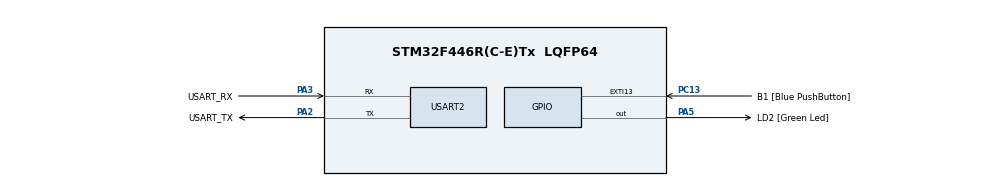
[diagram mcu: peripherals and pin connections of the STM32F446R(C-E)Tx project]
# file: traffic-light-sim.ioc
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Mcu.Family=STM32F4
Mcu.Name=STM32F446R(C-E)Tx
Mcu.Package=LQFP64
NVIC.PriorityGroup=NVIC_PRIORITYGROUP_4
PA13.GPIO_Label=TMS
PA13.Mode=Serial_Wire
PA13.Signal=SYS_JTMS-SWDIO
PA14.GPIO_Label=TCK
PA14.Mode=Serial_Wire
PA14.Signal=SYS_JTCK-SWCLK
PA2.GPIO_Label=USART_TX
PA2.Mode=Asynchronous
PA2.Signal=USART2_TX
PA3.GPIO_Label=USART_RX
PA3.Mode=Asynchronous
PA3.Signal=USART2_RX
PA5.GPIO_Label=LD2 [Green Led]
PA5.Signal=GPIO_Output
PB3.GPIO_Label=SWO
PB3.Signal=SYS_JTDO-SWO
PC13.GPIO_Label=B1 [Blue PushButton]
PC13.GPIO_ModeDefaultEXTI=GPIO_MODE_IT_FALLING
PC13.Signal=GPXTI13
PC14-OSC32_IN.Signal=RCC_OSC32_IN
PC15-OSC32_OUT.Signal=RCC_OSC32_OUT
PH0-OSC_IN.Signal=RCC_OSC_IN
PH1-OSC_OUT.Signal=RCC_OSC_OUT
ProjectManager.HeapSize=0x200
ProjectManager.StackSize=0x400
ProjectManager.TargetToolchain=STM32CubeIDE
RCC.AHBFreq_Value=84000000
RCC.APB1CLKDivider=RCC_HCLK_DIV2
RCC.APB1Freq_Value=42000000
RCC.APB1TimFreq_Value=84000000
RCC.APB2Freq_Value=84000000
RCC.APB2TimFreq_Value=84000000
RCC.CortexFreq_Value=84000000
RCC.FLatency-AdvancedSettings=FLASH_LATENCY_2
RCC.HCLKFreq_Value=84000000
RCC.HSE_VALUE=8000000
RCC.HSI_VALUE=16000000
RCC.LSE_VALUE=32768
RCC.PLLN=336
RCC.PLLP=RCC_PLLP_DIV4
RCC.SYSCLKFreq_VALUE=84000000
RCC.SYSCLKSource=RCC_SYSCLKSOURCE_PLLCLK
RCC.USBFreq_Value=168000000
RCC.VCOOutputFreq_Value=336000000
USART2.VirtualMode=VM_ASYNC
board=NUCLEO-F446RE

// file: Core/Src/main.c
/* USER CODE BEGIN Header */
/**
 ******************************************************************************
 * @file           : main.c
 * @brief          : Main program body
 ******************************************************************************
 * @attention
 *
 * Copyright (c) 2025 STMicroelectronics.
 * All rights reserved.
 *
 * This software is licensed under terms that can be found in the LICENSE file
 * in the root directory of this software component.
 * If no LICENSE file comes with this software, it is provided AS-IS.
 *
 ******************************************************************************
 */
/* USER CODE END Header */
/* Includes
 * ------------------------------------------------------------------*/
#include "main.h"

/* Private includes
 * ----------------------------------------------------------*/
/* USER CODE BEGIN Includes */
#include "FreeRTOS.h"
#include "FreeRTOSConfig.h"
#include "SEGGER_SYSVIEW.h"
#include "projdefs.h"
#include "task.h"
#include <stdint.h>
#include <stdio.h>

/* USER CODE END Includes */

/* Private typedef
 * -----------------------------------------------------------*/

/* Private define
 * ------------------------------------------------------------*/

/* Private macro
 * -------------------------------------------------------------*/
/* USER CODE BEGIN PM */
#define DWT_CTRL (*(volatile uint32_t *)0xE0001000)
#define DWT_CYCCNT (*(volatile uint32_t *)0xE0001004)
#define DEMCR (*(volatile uint32_t *)0xE000EDFC)
#define DEMCR_TRCENA (1 << 24)
/* USER CODE END PM */

/* Private variables
 * ---------------------------------------------------------*/
UART_HandleTypeDef huart2;

/* Private function prototypes
 * -----------------------------------------------*/
void SystemClock_Config (void);
static void MX_GPIO_Init (void);
static void MX_USART2_UART_Init (void);
/* USER CODE BEGIN PFP */
extern void app_main (void);
void enableCycleCounter (void);
uint32_t getCycleCount (void);
void measureForLoop (void *pvParameters);
void vApplicationStackOverflowHook (TaskHandle_t xTask, char *pcTaskName);

/* USER CODE END PFP */

/* Private user code
 * ---------------------------------------------------------*/

int
main (void)
{

    /* MCU
     * Configuration--------------------------------------------------------*/

    /* Reset of all peripherals, Initializes the Flash interface and the
     * Systick. */
    HAL_Init ();

    /* Configure the system clock */
    SystemClock_Config ();

    /* Initialize all configured peripherals */
    MX_GPIO_Init ();
    MX_USART2_UART_Init ();
    /* USER CODE BEGIN 2 */
    SEGGER_SYSVIEW_Conf ();  // Configure buffers, timestamps
    SEGGER_SYSVIEW_Start (); // Optional: triggers recording if autostart
                             // disabled

    // app_main ();
    enableCycleCounter ();

    TaskHandle_t xMeasureHandle;
    xTaskCreate (measureForLoop,               // Static wrapper
                 "MeasureForLoop",             // Task name
                 configMINIMAL_STACK_SIZE * 2, // Stack size (words, not bytes)
                 NULL,                 // Parameter → pass 'this' pointer
                 tskIDLE_PRIORITY + 1, // Priority
                 &xMeasureHandle       // Task handle
    );

    SEGGER_SYSVIEW_NameResource ((U32)xMeasureHandle, "MeasureForLoop");

    vTaskStartScheduler ();

    /* USER CODE END 2 */

    /* Infinite loop */
    while (1)
    {

    }
}

void
SystemClock_Config (void)
{
    RCC_OscInitTypeDef RCC_OscInitStruct = { 0 };
    RCC_ClkInitTypeDef RCC_ClkInitStruct = { 0 };

    /** Configure the main internal regulator output voltage
     */
    __HAL_RCC_PWR_CLK_ENABLE ();
    __HAL_PWR_VOLTAGESCALING_CONFIG (PWR_REGULATOR_VOLTAGE_SCALE3);

    /** Initializes the RCC Oscillators according to the specified parameters
     * in the RCC_OscInitTypeDef structure.
     */
    RCC_OscInitStruct.OscillatorType = RCC_OSCILLATORTYPE_HSI;
    RCC_OscInitStruct.HSIState = RCC_HSI_ON;
    RCC_OscInitStruct.HSICalibrationValue = RCC_HSICALIBRATION_DEFAULT;
    RCC_OscInitStruct.PLL.PLLState = RCC_PLL_ON;
    RCC_OscInitStruct.PLL.PLLSource = RCC_PLLSOURCE_HSI;
    RCC_OscInitStruct.PLL.PLLM = 16;
    RCC_OscInitStruct.PLL.PLLN = 336;
    RCC_OscInitStruct.PLL.PLLP = RCC_PLLP_DIV4;
    RCC_OscInitStruct.PLL.PLLQ = 2;
    RCC_OscInitStruct.PLL.PLLR = 2;
    if (HAL_RCC_OscConfig (&RCC_OscInitStruct) != HAL_OK)
    {
        Error_Handler ();
    }

    /** Initializes the CPU, AHB and APB buses clocks
     */
    RCC_ClkInitStruct.ClockType = RCC_CLOCKTYPE_HCLK | RCC_CLOCKTYPE_SYSCLK
                                  | RCC_CLOCKTYPE_PCLK1 | RCC_CLOCKTYPE_PCLK2;
    RCC_ClkInitStruct.SYSCLKSource = RCC_SYSCLKSOURCE_PLLCLK;
    RCC_ClkInitStruct.AHBCLKDivider = RCC_SYSCLK_DIV1;
    RCC_ClkInitStruct.APB1CLKDivider = RCC_HCLK_DIV2;
    RCC_ClkInitStruct.APB2CLKDivider = RCC_HCLK_DIV1;

    if (HAL_RCC_ClockConfig (&RCC_ClkInitStruct, FLASH_LATENCY_2) != HAL_OK)
    {
        Error_Handler ();
    }
}

static void
MX_USART2_UART_Init (void)
{

    huart2.Instance = USART2;
    huart2.Init.BaudRate = 115200;
    huart2.Init.WordLength = UART_WORDLENGTH_8B;
    huart2.Init.StopBits = UART_STOPBITS_1;
    huart2.Init.Parity = UART_PARITY_NONE;
    huart2.Init.Mode = UART_MODE_TX_RX;
    huart2.Init.HwFlowCtl = UART_HWCONTROL_NONE;
    huart2.Init.OverSampling = UART_OVERSAMPLING_16;
    if (HAL_UART_Init (&huart2) != HAL_OK)
    {
        Error_Handler ();
    }
}

static void
MX_GPIO_Init (void)
{
    GPIO_InitTypeDef GPIO_InitStruct = { 0 };

    /* GPIO Ports Clock Enable */
    __HAL_RCC_GPIOC_CLK_ENABLE ();
    __HAL_RCC_GPIOH_CLK_ENABLE ();
    __HAL_RCC_GPIOA_CLK_ENABLE ();
    __HAL_RCC_GPIOB_CLK_ENABLE ();

    /*Configure GPIO pin Output Level */
    HAL_GPIO_WritePin (LD2_GPIO_Port, LD2_Pin, GPIO_PIN_RESET);

    /*Configure GPIO pin : B1_Pin */
    GPIO_InitStruct.Pin = B1_Pin;
    GPIO_InitStruct.Mode = GPIO_MODE_IT_FALLING;
    GPIO_InitStruct.Pull = GPIO_NOPULL;
    HAL_GPIO_Init (B1_GPIO_Port, &GPIO_InitStruct);

    /*Configure GPIO pin : LD2_Pin */
    GPIO_InitStruct.Pin = LD2_Pin;
    GPIO_InitStruct.Mode = GPIO_MODE_OUTPUT_PP;
    GPIO_InitStruct.Pull = GPIO_NOPULL;
    GPIO_InitStruct.Speed = GPIO_SPEED_FREQ_LOW;
    HAL_GPIO_Init (LD2_GPIO_Port, &GPIO_InitStruct);

}

/* USER CODE BEGIN 4 */

void
enableCycleCounter (void)
{
    DEMCR |= DEMCR_TRCENA; // Enable trace
    DWT_CYCCNT = 0;        // Reset cycle counter
    DWT_CTRL |= 1;         // Enable cycle counter
}

uint32_t
getCycleCount (void)
{
    return DWT_CYCCNT;
}

void
measureForLoop (void *pvParameters)
{
    while (1)
    {
        SEGGER_SYSVIEW_PrintfHost ("Task starting loop");

        SEGGER_SYSVIEW_OnUserStart (1);

        uint32_t startCycles, endCycles, totalCycles;

        startCycles = getCycleCount ();
        volatile uint32_t sum = 0;
        for (uint32_t i = 0; i < 5; i++)
        {
            sum += i;
        }
        endCycles = getCycleCount ();
        totalCycles = endCycles - startCycles;

        SEGGER_SYSVIEW_OnUserStop (1);

        printf ("FOR LOOP: %lu cycles\r\n", totalCycles);

        vTaskDelay (pdMS_TO_TICKS (350));
    }
}

void
vApplicationStackOverflowHook (TaskHandle_t xTask, char *pcTaskName)
{
    printf ("Stack overflow in task: %s\n", pcTaskName);
    while (1)
    {
    }
}

void
vApplicationMallocFailedHook (void)
{
    printf ("Malloc failed!\n");
    while (1)
        ;
}

/* USER CODE END 4 */

void
Error_Handler (void)
{
    /* USER CODE BEGIN Error_Handler_Debug */
    /* User can add his own implementation to report the HAL error return state
     */
    __disable_irq ();
    while (1)
    {
    }
    /* USER CODE END Error_Handler_Debug */
}

#ifdef USE_FULL_ASSERT
/**
 * @brief  Reports the name of the source file and the source line number
 *         where the assert_param error has occurred.
 * @param  file: pointer to the source file name
 * @param  line: assert_param error line source number
 * @retval None
 */
void
assert_failed (uint8_t *file, uint32_t line)
{
    /* USER CODE BEGIN 6 */
    /* User can add his own implementation to report the file name and line
       number, ex: printf("Wrong parameters value: file %s on line %d\r\n",
       file, line) */
    /* USER CODE END 6 */
}
#endif /* USE_FULL_ASSERT */
